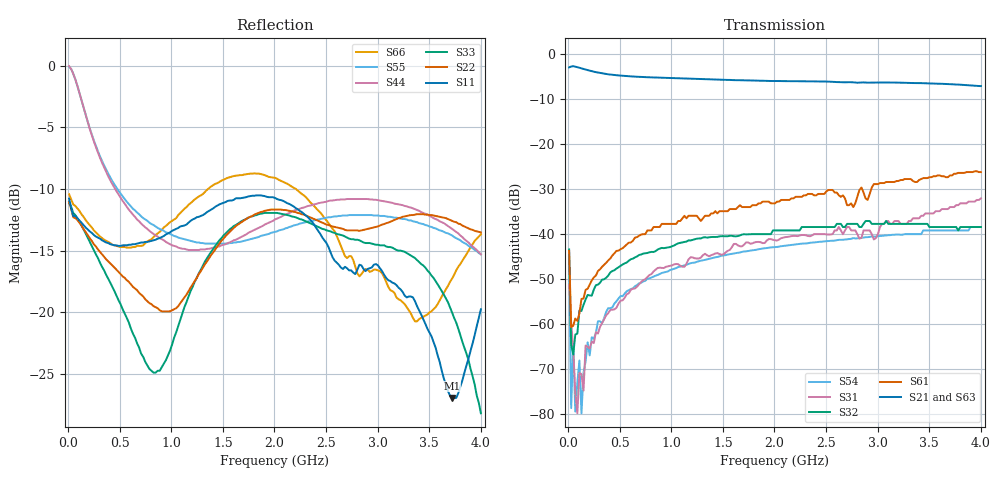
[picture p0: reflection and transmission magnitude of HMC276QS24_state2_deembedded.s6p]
! Hittite Microwave Corporation
! 20 Alpha Road
! Chelmsford, MA 01824
! Tel: 978-250-3343
! Fax: 978-250-3373
! Device: HMC276QS24, 0.7-3.0 GHz, GaAS MMIC 4x2 Switch Matrix in 24-lead QSOP package
! Misc: Data was de-embedded to package pins.
!  Port 1 = OP1
!  Port 2 = VL
!  Port 3 = VH
!  Port 4 = HH
!  Port 5 = HL
!  Port 6 = OP2
!  Vdd = +5 V
!  Vctl = 0 V[Logic 0] / +5 V[Logic 1]
!  State 02,  VL to OP1,  VH to OP2
!  Control Lines (Logic)
!  HV 1 = 0, Tone 1 = 0
!  HV 2 = 0, Tone 2 = 1
!  Data reformated to new Touchstone file format - Wed Jan 10 14:22:19 2007
# MHz S DB R 50
! 6 Port Network Data
! freq  dbS11  angS11  dbS12  angS12  dbS13  angS13  dbS14  angS14
!  dbS15  angS15  dbS16  angS16
!  dbS21  angS21  dbS22  angS22
!  dbS23  angS23  dbS24  angS24  dbS25  angS25  dbS26  angS26
!  dbS31  angS31  dbS32  angS32  dbS33  angS33  dbS34  angS34
!  dbS35  angS35  dbS36  angS36
!  dbS41  angS41  dbS42  angS42
!  dbS43  angS43  dbS44  angS44  dbS45  angS45  dbS46  angS46
!  dbS51  angS51  dbS52  angS52  dbS53  angS53  dbS54  angS54
!  dbS55  angS55  dbS56  angS56
!  dbS61  angS61  dbS62  angS62
!  dbS63  angS63  dbS64  angS64  dbS65  angS65  dbS66  angS66
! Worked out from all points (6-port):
!   201 points, 10 MHz to 4 GHz, reference 50 ohm
!   strongest paths, dB at 10 MHz, 1.008 GHz, 2.005 GHz, 3.002 GHz, 4 GHz:
!     S21: -2.9, -5.3, -5.9, -6.3, -7.1
!     S63: -2.8, -5.4, -6.0, -6.1, -6.9
!     S61: -43.7, -37.7, -33.2, -28.9, -26.2
!     S32: -43.4, -42.7, -39.2, -37.7, -38.4
!     S31: -51.2, -46.9, -41.4, -40.0, -32.0
!     S54: -46.9, -47.8, -42.9, -40.5, -38.4
!   lowest |S11| = -26.9 dB at 3.721 GHz (marker M1), VSWR 1.09, Z = 48.8 + j4.29 ohm
!   |S11| at or under -10 dB: start of sweep to end of sweep
